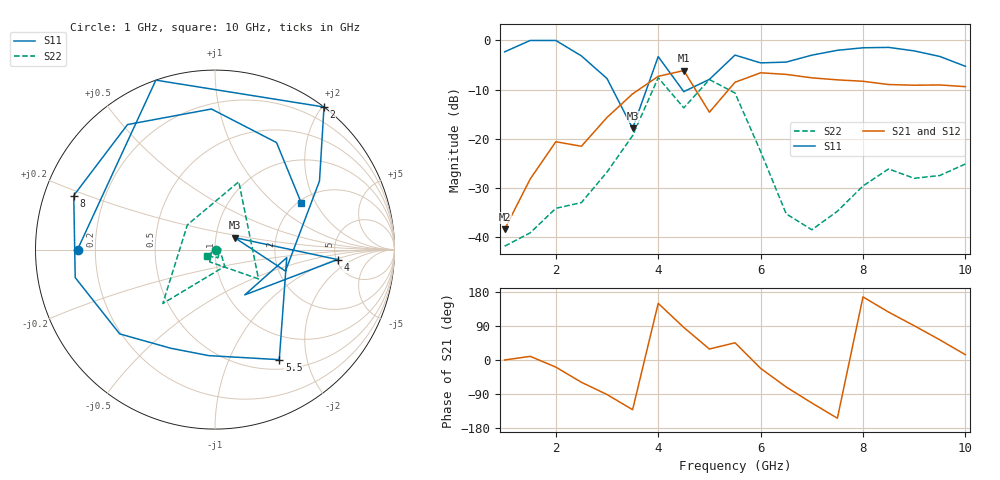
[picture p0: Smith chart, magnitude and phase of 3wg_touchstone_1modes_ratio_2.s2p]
! S-parameter export from POSTFEKO
! Filename: circular_3wg_1_modes_ratio_2
! Creation date: 2020-01-25 10:01:35
# Hz S MA R  5.0000000E+01
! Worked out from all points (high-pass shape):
!   19 points, 1 GHz to 10 GHz, reference 50 ohm
!   highest |S21| = -6.12 dB at 4.5 GHz (marker M1); lowest = -38.4 dB at 1 GHz (marker M2)
!   |S21| within 3 dB of the highest: 3.744 GHz to 4.677 GHz (933.6 MHz wide, 22.2 % of centre); 5.449 GHz to 9.612 GHz (4.162 GHz wide, 55.3 % of centre)
!   lowest |S11| = -17.9 dB at 3.5 GHz (marker M3), VSWR 1.29, Z = 61.6 + j8.39 ohm
!   |S11| at or under -10 dB: 3.112 GHz to 3.77 GHz (658.1 MHz wide, 19.1 % of centre); 4.472 GHz to 4.581 GHz (109 MHz wide, 2.41 % of centre)
!   |S22| runs from -41.8 to -7.6 dB; largest |S21 - S12| = 1.4e-05
!   S11 on the Smith chart (normalised r, x): 1 GHz: 0.13, -0.00; 2 GHz: -0.00, +2.02; 4 GHz: 5.12, -1.07; 5.5 GHz: 0.63, -1.56; 8 GHz: 0.09, +0.18; 10 GHz: 2.08, +1.54
1e9  0.766 -180.0  0.01204 -0.0  0.01204 0.0  0.008114 -0.0
1.5e9  1 109.2  0.03906 9.6  0.03906 9.6  0.01109 -3.9
2e9  1 52.6  0.09345 -18.7  0.09345 -18.7  0.01967 -12.8
2.5e9  0.6963 33.3  0.0841 -58.8  0.0841 -58.8  0.0225 -23.8
3e9  0.4104 -16.9  0.1649 -91.1  0.1649 -91.1  0.04594 -39.6
3.5e9  0.1278 31.6  0.2865 -131.1  0.2865 -131.1  0.1077 -59.9
4e9  0.6851 -4.6  0.4319 149.5  0.4319 149.5  0.4182 -134.1
4.5e9  0.3019 -56.7  0.4943 85.9  0.4943 85.9  0.2067 138.1
5e9  0.4022 -6.4  0.1865 28.9  0.1865 28.9  0.4007 70.7
5.5e9  0.7101 -59.7  0.3758 45.5  0.3758 45.5  0.2923 -34.0
6e9  0.5917 -93.4  0.4692 -22.0  0.4692 -22.0  0.07445 -113.2
6.5e9  0.6026 -114.3  0.452 -71.3  0.452 -71.3  0.01731 178.4
7e9  0.7089 -138.5  0.417 -113.4  0.417 -113.4  0.01191 106.8
7.5e9  0.7943 -168.7  0.3976 -153.7  0.3976 -153.7  0.01837 51.7
8e9  0.8427 159.0  0.3848 166.6  0.3848 166.6  0.03322 6.1
8.5e9  0.8502 125.0  0.3565 126.4  0.3565 126.4  0.04948 -72.0
9e9  0.7836 91.4  0.3509 90.5  0.3509 90.5  0.03969 -83.5
9.5e9  0.6878 60.1  0.353 53.2  0.353 53.2  0.04241 -105.1
1e10  0.5465 28.4  0.3393 14.0  0.3393 14.0  0.05551 -139.3
